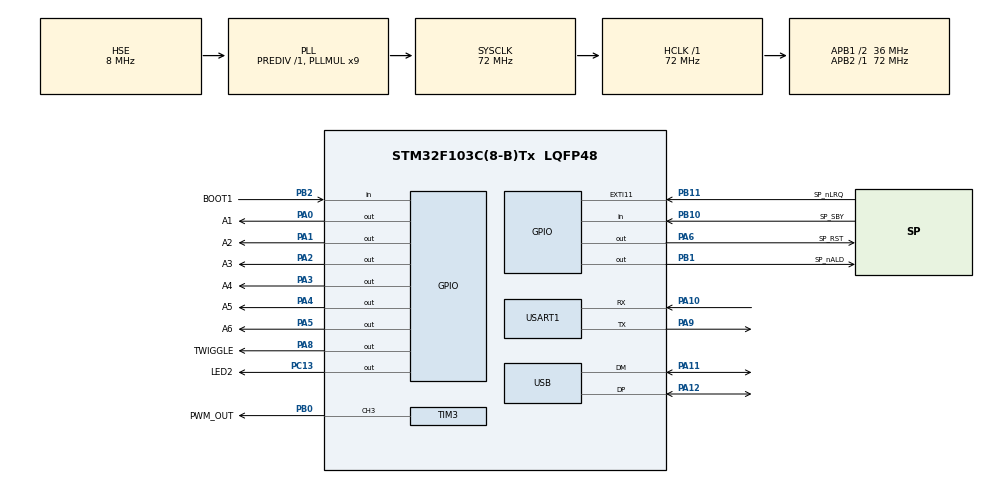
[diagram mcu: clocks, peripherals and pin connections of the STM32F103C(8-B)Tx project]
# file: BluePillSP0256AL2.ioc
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Dma.Request0=TIM4_UP
Dma.TIM4_UP.0.Direction=DMA_MEMORY_TO_PERIPH
Dma.TIM4_UP.0.Instance=DMA1_Channel7
Dma.TIM4_UP.0.MemDataAlignment=DMA_MDATAALIGN_BYTE
Dma.TIM4_UP.0.MemInc=DMA_MINC_ENABLE
Dma.TIM4_UP.0.Mode=DMA_NORMAL
Dma.TIM4_UP.0.PeriphDataAlignment=DMA_PDATAALIGN_HALFWORD
Dma.TIM4_UP.0.PeriphInc=DMA_PINC_DISABLE
Dma.TIM4_UP.0.Priority=DMA_PRIORITY_HIGH
FREERTOS.INCLUDE_uxTaskGetStackHighWaterMark=1
FREERTOS.MEMORY_ALLOCATION=2
FREERTOS.Tasks01=defaultTask,0,128,StartDefaultTask,Default,NULL,Static,defaultTaskBuffer,defaultTaskControlBlock
FREERTOS.configCHECK_FOR_STACK_OVERFLOW=2
FREERTOS.configGENERATE_RUN_TIME_STATS=0
FREERTOS.configRECORD_STACK_HIGH_ADDRESS=0
FREERTOS.configTOTAL_HEAP_SIZE=4096
FREERTOS.configUSE_MALLOC_FAILED_HOOK=1
Mcu.Family=STM32F1
Mcu.Name=STM32F103C(8-B)Tx
Mcu.Package=LQFP48
NVIC.DMA1_Channel7_IRQn=true\:5\:0\:false\:false\:true\:true\:false\:true
NVIC.EXTI15_10_IRQn=true\:5\:0\:false\:false\:true\:true\:true\:true
NVIC.PriorityGroup=NVIC_PRIORITYGROUP_4
NVIC.RTC_Alarm_IRQn=true\:5\:0\:false\:false\:true\:true\:true\:true
NVIC.TIM2_IRQn=true\:0\:0\:false\:false\:true\:false\:false\:true
NVIC.TimeBase=TIM2_IRQn
NVIC.TimeBaseIP=TIM2
NVIC.USART1_IRQn=true\:5\:0\:false\:false\:true\:true\:true\:true
NVIC.USB_LP_CAN1_RX0_IRQn=true\:5\:0\:false\:false\:true\:true\:true\:true
PA0-WKUP.GPIO_Label=A1
PA0-WKUP.Signal=GPIO_Output
PA1.GPIO_Label=A2
PA1.Signal=GPIO_Output
PA10.Mode=Asynchronous
PA10.Signal=USART1_RX
PA11.Mode=Device
PA11.Signal=USB_DM
PA12.Mode=Device
PA12.Signal=USB_DP
PA13.Mode=Serial_Wire
PA13.Signal=SYS_JTMS-SWDIO
PA14.Mode=Serial_Wire
PA14.Signal=SYS_JTCK-SWCLK
PA2.GPIO_Label=A3
PA2.Signal=GPIO_Output
PA3.GPIO_Label=A4
PA3.Signal=GPIO_Output
PA4.GPIO_Label=A5
PA4.Signal=GPIO_Output
PA5.GPIO_Label=A6
PA5.Signal=GPIO_Output
PA6.GPIO_Label=SP_RST
PA6.Signal=GPIO_Output
PA8.GPIO_Label=TWIGGLE
PA8.GPIO_Speed=GPIO_SPEED_FREQ_HIGH
PA8.Signal=GPIO_Output
PA9.Mode=Asynchronous
PA9.Signal=USART1_TX
PB0.GPIO_Label=PWM_OUT
PB0.GPIO_Speed=GPIO_SPEED_FREQ_HIGH
PB0.Signal=S_TIM3_CH3
PB1.GPIO_Label=SP_nALD
PB1.GPIO_Speed=GPIO_SPEED_FREQ_HIGH
PB1.PinState=GPIO_PIN_SET
PB1.Signal=GPIO_Output
PB10.GPIO_Label=SP_SBY
PB10.Signal=GPIO_Input
PB11.GPIO_Label=SP_nLRQ
PB11.GPIO_ModeDefaultEXTI=GPIO_MODE_IT_FALLING
PB11.Signal=GPXTI11
PB2.GPIO_Label=BOOT1
PB2.Signal=GPIO_Input
PC13-TAMPER-RTC.GPIO_Label=LED2
PC13-TAMPER-RTC.PinState=GPIO_PIN_SET
PC13-TAMPER-RTC.Signal=GPIO_Output
PC14-OSC32_IN.Mode=LSE-External-Oscillator
PC14-OSC32_IN.Signal=RCC_OSC32_IN
PC15-OSC32_OUT.Mode=LSE-External-Oscillator
PC15-OSC32_OUT.Signal=RCC_OSC32_OUT
PD0-OSC_IN.Mode=HSE-External-Oscillator
PD0-OSC_IN.Signal=RCC_OSC_IN
PD1-OSC_OUT.Mode=HSE-External-Oscillator
PD1-OSC_OUT.Signal=RCC_OSC_OUT
ProjectManager.HeapSize=0x200
ProjectManager.StackSize=0x400
ProjectManager.TargetToolchain=SW4STM32
RCC.AHBFreq_Value=72000000
RCC.APB1CLKDivider=RCC_HCLK_DIV2
RCC.APB1Freq_Value=36000000
RCC.APB1TimFreq_Value=72000000
RCC.APB2Freq_Value=72000000
RCC.APB2TimFreq_Value=72000000
RCC.HCLKFreq_Value=72000000
RCC.PLLMUL=RCC_PLL_MUL9
RCC.RTCClockSelection=RCC_RTCCLKSOURCE_LSE
RCC.SYSCLKFreq_VALUE=72000000
RCC.SYSCLKSource=RCC_SYSCLKSOURCE_PLLCLK
RCC.USBFreq_Value=48000000
RCC.USBPrescaler=RCC_USBCLKSOURCE_PLL_DIV1_5
RTC.Date=4
RTC.Format=RTC_FORMAT_BIN
RTC.Month=RTC_MONTH_MAY
RTC.WeekDay=RTC_WEEKDAY_MONDAY
RTC.Year=20
SH.S_TIM3_CH3.0=TIM3_CH3,PWM Generation3 CH3
TIM3.Channel-PWM\ Generation3\ CH3=TIM_CHANNEL_3
TIM3.Period=254
TIM3.Prescaler=5
TIM3.Pulse-PWM\ Generation3\ CH3=128
TIM4.Period=8999
TIM4.Prescaler=0
USART1.VirtualMode=VM_ASYNC
USB_DEVICE.CLASS_NAME_FS=CDC
USB_DEVICE.VirtualMode=Cdc
USB_DEVICE.VirtualModeFS=Cdc_FS
VP_FREERTOS_VS_CMSIS_V1.Mode=CMSIS_V1
VP_RTC_No_RTC_Output.Mode=RTC_OUT_NO
VP_RTC_VS_RTC_Activate.Mode=RTC_Enabled
VP_SYS_VS_tim2.Mode=TIM2
VP_TIM3_VS_ClockSourceINT.Mode=Internal
VP_TIM4_VS_ClockSourceINT.Mode=Internal
VP_USB_DEVICE_VS_USB_DEVICE_CDC_FS.Mode=CDC_FS
board=BluePill

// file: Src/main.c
/* USER CODE BEGIN Header */
/**
  ******************************************************************************
  * @file           : main.c
  * @brief          : Main program body
  ******************************************************************************
  * @attention
  *
  * <h2><center>&copy; Copyright (c) 2019 STMicroelectronics.
  * All rights reserved.</center></h2>
  *
  * This software component is licensed by ST under Ultimate Liberty license
  * SLA0044, the "License"; You may not use this file except in compliance with
  * the License. You may obtain a copy of the License at:
  *                             www.st.com/SLA0044
  *
  ******************************************************************************
  */
/* USER CODE END Header */

#include "main.h"
#include "cmsis_os.h"
#include "usb_device.h"

/* USER CODE BEGIN Includes */

#if HAVE_USBCDC
#include "usbd_cdc.h"	//just for the XXX_USBCDC_PresenceHack()
#endif
#include "system_interfaces.h"
#include "serial_devices.h"
#include "util_circbuff2.h"

#include "lamps.h"
#include "task_notification_bits.h"

#include "BluePillSP0256AL2_settings.h"

#include "task_monitor.h"
#include "task_sp0256.h"

#include "backup_registers.h"

#ifndef COUNTOF
#define COUNTOF(arr) (sizeof(arr)/sizeof(arr[0]))
#endif

#if ! HAVE_UART1 && ! HAVE_USBCDC
#error You must set at least one of HAVE_UART1 HAVE_USBCDC to 1 in project settings
#endif

//This controls whether we use the FreeRTOS heap implementation to also provide
//the libc malloc() and friends.
#define USE_FREERTOS_HEAP_IMPL 1

#ifdef DEBUG
volatile size_t g_nHeapFree;
volatile size_t g_nMinEverHeapFree;
volatile int g_nMaxMonTxQueue;
volatile int g_nMaxMonRxQueue;
volatile int g_nMaxSP0256Queue;
volatile int g_nMinStackFreeDefault;
volatile int g_nMinStackFreeMonitor;
volatile int g_nMinStackFreeSP0256;
#endif

#if USE_FREERTOS_HEAP_IMPL

#if configAPPLICATION_ALLOCATED_HEAP
//we define our heap (to be used by FreeRTOS heap_4.c implementation) to be
//exactly where we want it to be.
__attribute__((aligned(8)))
uint8_t ucHeap[ configTOTAL_HEAP_SIZE ];
#endif
//we implemented a 'realloc' for a heap_4 derived implementation
extern void* pvPortRealloc( void* pvOrig, size_t xWantedSize );
//we implemented a 'heapwalk' function
typedef int (*CBK_HEAPWALK) ( void* pblk, uint32_t nBlkSize, int bIsFree, void* pinst );
extern int vPortHeapWalk ( CBK_HEAPWALK pfnWalk, void* pinst );

//'wrapped functions' for library interpositioning
//you must specify these gcc (linker-directed) options to cause the wrappers'
//delights to be generated:

//-Wl,--wrap,malloc -Wl,--wrap,free -Wl,--wrap,realloc -Wl,--wrap,calloc
//-Wl,--wrap,_malloc_r -Wl,--wrap,_free_r -Wl,--wrap,_realloc_r -Wl,--wrap,_calloc_r

//hmm; can I declare these 'inline' and save a little code and stack?
void* __wrap_malloc ( size_t size ) { return pvPortMalloc ( size ); }
void __wrap_free ( void* pv ) { vPortFree ( pv ); }
void* __wrap_realloc ( void* pv, size_t size ) { return pvPortRealloc ( pv, size ); }

void* __wrap__malloc_r ( struct _reent* r, size_t size ) { return pvPortMalloc ( size ); }
void __wrap__free_r ( struct _reent* r, void* pv ) { vPortFree ( pv ); }
void* __wrap__realloc_r ( struct _reent* r, void* pv, size_t size ) { return pvPortRealloc ( pv, size ); }

#endif

/* USER CODE END Includes */

RTC_HandleTypeDef hrtc;

TIM_HandleTypeDef htim3;
TIM_HandleTypeDef htim4;
DMA_HandleTypeDef hdma_tim4_up;

UART_HandleTypeDef huart1;

osThreadId defaultTaskHandle;
uint32_t defaultTaskBuffer[ 128 ];
osStaticThreadDef_t defaultTaskControlBlock;

void SystemClock_Config(void);
static void MX_GPIO_Init(void);
static void MX_DMA_Init(void);
static void MX_RTC_Init(void);
static void MX_TIM3_Init(void);
static void MX_TIM4_Init(void);
static void MX_USART1_UART_Init(void);
void StartDefaultTask(void const * argument);

int main(void)
{
  /* USER CODE BEGIN 1 */
	//enable the core debug cycle counter to be used as a precision timer
	CoreDebug->DEMCR |= CoreDebug_DEMCR_TRCENA_Msk;
	DWT->CYCCNT = 0;
	DWT->CTRL |= DWT_CTRL_CYCCNTENA_Msk;
  /* USER CODE END 1 */

  /* MCU Configuration--------------------------------------------------------*/

  /* Reset of all peripherals, Initializes the Flash interface and the Systick. */
  HAL_Init();

  /* USER CODE BEGIN Init */

#if HAVE_USBCDC
	//if you get a linker fail on the following, it is because some manual
	//changes to:
	//  .\Middlewares\ST\STM32_USB_Device_Library\Class\CDC\Inc\usbd_cdc.h
	//  .\Middlewares\ST\STM32_USB_Device_Library\Class\CDC\Src\usbd_cdc.c
	//  .\Src\usbd_cdc_if.c
	//must be applied.  There are backups of those files to help with that.
	//This has to be done manually, because the changes are in tool generated
	//code that gets overwritten when you re-run STM32CubeMX.  The nature of
	//those changes are such that when they are overwritten, you will still
	//be able to build but stuff won't work at runtime.  This hack will cause
	//the build to fail if you forget to merge those changes back on, thus
	//prompting you to do so.
	//Sorry for the inconvenience, but I don't think there is any better way
	//of making it obvious that this chore simply must be done.
	XXX_USBCDC_PresenceHack();	//this does nothing real; do not delete
#endif

  /* USER CODE END Init */

  /* Configure the system clock */
  SystemClock_Config();

  /* USER CODE BEGIN SysInit */

	//do a dummy alloc to cause the heap to be init'ed and so the memory stats as well
	vPortFree ( pvPortMalloc ( 0 ) );

	//get system config depersisted from flash before we do much more
	Settings_depersist();

  /* USER CODE END SysInit */

  /* Initialize all configured peripherals */
  MX_GPIO_Init();
  MX_DMA_Init();
  MX_RTC_Init();
  MX_TIM3_Init();
  MX_TIM4_Init();
  MX_USART1_UART_Init();
  /* USER CODE BEGIN 2 */

	//give the task processors an early opportunity to setup any internal
	//stuff (e.g. FreeRTOS objects, etc.).  In general, we should do this
	//after the peripherals have been configured.
	SP0256_Initialize();	//setup whatnot for the SP0256 task processor and reset
	Monitor_Initialize();	//setup whatnot for the Monitor task

  /* USER CODE END 2 */

  /* Create the thread(s) */
  /* definition and creation of defaultTask */
  osThreadStaticDef(defaultTask, StartDefaultTask, osPriorityNormal, 0, 128, defaultTaskBuffer, &defaultTaskControlBlock);
  defaultTaskHandle = osThreadCreate(osThread(defaultTask), NULL);

  /* Start scheduler */
  osKernelStart();

  /* We should never get here as control is now taken by the scheduler */

  /* Infinite loop */
  while (1)
  {

  }
}

void SystemClock_Config(void)
{
  RCC_OscInitTypeDef RCC_OscInitStruct = {0};
  RCC_ClkInitTypeDef RCC_ClkInitStruct = {0};
  RCC_PeriphCLKInitTypeDef PeriphClkInit = {0};

  /** Initializes the CPU, AHB and APB busses clocks
  */
  RCC_OscInitStruct.OscillatorType = RCC_OSCILLATORTYPE_HSE|RCC_OSCILLATORTYPE_LSE;
  RCC_OscInitStruct.HSEState = RCC_HSE_ON;
  RCC_OscInitStruct.HSEPredivValue = RCC_HSE_PREDIV_DIV1;
  RCC_OscInitStruct.LSEState = RCC_LSE_ON;
  RCC_OscInitStruct.HSIState = RCC_HSI_ON;
  RCC_OscInitStruct.PLL.PLLState = RCC_PLL_ON;
  RCC_OscInitStruct.PLL.PLLSource = RCC_PLLSOURCE_HSE;
  RCC_OscInitStruct.PLL.PLLMUL = RCC_PLL_MUL9;
  if (HAL_RCC_OscConfig(&RCC_OscInitStruct) != HAL_OK)
  {
    Error_Handler();
  }
  /** Initializes the CPU, AHB and APB busses clocks
  */
  RCC_ClkInitStruct.ClockType = RCC_CLOCKTYPE_HCLK|RCC_CLOCKTYPE_SYSCLK
                              |RCC_CLOCKTYPE_PCLK1|RCC_CLOCKTYPE_PCLK2;
  RCC_ClkInitStruct.SYSCLKSource = RCC_SYSCLKSOURCE_PLLCLK;
  RCC_ClkInitStruct.AHBCLKDivider = RCC_SYSCLK_DIV1;
  RCC_ClkInitStruct.APB1CLKDivider = RCC_HCLK_DIV2;
  RCC_ClkInitStruct.APB2CLKDivider = RCC_HCLK_DIV1;

  if (HAL_RCC_ClockConfig(&RCC_ClkInitStruct, FLASH_LATENCY_2) != HAL_OK)
  {
    Error_Handler();
  }
  PeriphClkInit.PeriphClockSelection = RCC_PERIPHCLK_RTC|RCC_PERIPHCLK_USB;
  PeriphClkInit.RTCClockSelection = RCC_RTCCLKSOURCE_LSE;
  PeriphClkInit.UsbClockSelection = RCC_USBCLKSOURCE_PLL_DIV1_5;
  if (HAL_RCCEx_PeriphCLKConfig(&PeriphClkInit) != HAL_OK)
  {
    Error_Handler();
  }
}

static void MX_RTC_Init(void)
{

  RTC_TimeTypeDef sTime = {0};
  RTC_DateTypeDef DateToUpdate = {0};

  /** Initialize RTC Only
  */
  hrtc.Instance = RTC;
  hrtc.Init.AsynchPrediv = RTC_AUTO_1_SECOND;
  hrtc.Init.OutPut = RTC_OUTPUTSOURCE_NONE;
  if (HAL_RTC_Init(&hrtc) != HAL_OK)
  {
    Error_Handler();
  }

  /* USER CODE BEGIN Check_RTC_BKUP */
	//we use one of the 'backup registers' to store some flags; the 'RTC set'
	//is used to indicate we have set the clock at some point.  If this flag is
	//set in the backup register, then we have /not power-cycled the board, and
	//so we avoid the generated code, below which will blast the RTC setting.
	HAL_PWR_EnableBkUpAccess();	//... and leave it that way
	uint32_t flags = HAL_RTCEx_BKUPRead ( &hrtc, FLAGS_REGISTER );
	if ( ! ( flags & FLAG_HAS_SET_RTC ) )
	{	//ugly hack to skip needlessly setting the RTC via generated code
  /* USER CODE END Check_RTC_BKUP */

  /** Initialize RTC and set the Time and Date
  */
  sTime.Hours = 0;
  sTime.Minutes = 0;
  sTime.Seconds = 0;

  if (HAL_RTC_SetTime(&hrtc, &sTime, RTC_FORMAT_BIN) != HAL_OK)
  {
    Error_Handler();
  }
  DateToUpdate.WeekDay = RTC_WEEKDAY_MONDAY;
  DateToUpdate.Month = RTC_MONTH_MAY;
  DateToUpdate.Date = 4;
  DateToUpdate.Year = 20;

  if (HAL_RTC_SetDate(&hrtc, &DateToUpdate, RTC_FORMAT_BIN) != HAL_OK)
  {
    Error_Handler();
  }
  /* USER CODE BEGIN RTC_Init 2 */
	}
else
	{
		//If we have reset or woken up but aren't going to set the RTC because
		//it was already set, then we at least need to do the following or we
		//won't ever be able to write to the RTC (e.g. for setting alarm)
		//NOTE:  on the 'F1's, the RTC is 'V1', which means that there is not
		//date.  The date is emulated in software, and so is lost on reset,
		//etc.
		HAL_RTC_WaitForSynchro(&hrtc);
	}	//end ugly hack to avoid some generated code

  /* USER CODE END RTC_Init 2 */

}

static void MX_TIM3_Init(void)
{

  TIM_ClockConfigTypeDef sClockSourceConfig = {0};
  TIM_MasterConfigTypeDef sMasterConfig = {0};
  TIM_OC_InitTypeDef sConfigOC = {0};

  htim3.Instance = TIM3;
  htim3.Init.Prescaler = 5;
  htim3.Init.CounterMode = TIM_COUNTERMODE_UP;
  htim3.Init.Period = 254;
  htim3.Init.ClockDivision = TIM_CLOCKDIVISION_DIV1;
  htim3.Init.AutoReloadPreload = TIM_AUTORELOAD_PRELOAD_DISABLE;
  if (HAL_TIM_Base_Init(&htim3) != HAL_OK)
  {
    Error_Handler();
  }
  sClockSourceConfig.ClockSource = TIM_CLOCKSOURCE_INTERNAL;
  if (HAL_TIM_ConfigClockSource(&htim3, &sClockSourceConfig) != HAL_OK)
  {
    Error_Handler();
  }
  if (HAL_TIM_PWM_Init(&htim3) != HAL_OK)
  {
    Error_Handler();
  }
  sMasterConfig.MasterOutputTrigger = TIM_TRGO_RESET;
  sMasterConfig.MasterSlaveMode = TIM_MASTERSLAVEMODE_DISABLE;
  if (HAL_TIMEx_MasterConfigSynchronization(&htim3, &sMasterConfig) != HAL_OK)
  {
    Error_Handler();
  }
  sConfigOC.OCMode = TIM_OCMODE_PWM1;
  sConfigOC.Pulse = 128;
  sConfigOC.OCPolarity = TIM_OCPOLARITY_HIGH;
  sConfigOC.OCFastMode = TIM_OCFAST_DISABLE;
  if (HAL_TIM_PWM_ConfigChannel(&htim3, &sConfigOC, TIM_CHANNEL_3) != HAL_OK)
  {
    Error_Handler();
  }
  HAL_TIM_MspPostInit(&htim3);

}

static void MX_TIM4_Init(void)
{

  TIM_ClockConfigTypeDef sClockSourceConfig = {0};
  TIM_MasterConfigTypeDef sMasterConfig = {0};

  htim4.Instance = TIM4;
  htim4.Init.Prescaler = 0;
  htim4.Init.CounterMode = TIM_COUNTERMODE_UP;
  htim4.Init.Period = 8999;
  htim4.Init.ClockDivision = TIM_CLOCKDIVISION_DIV1;
  htim4.Init.AutoReloadPreload = TIM_AUTORELOAD_PRELOAD_DISABLE;
  if (HAL_TIM_Base_Init(&htim4) != HAL_OK)
  {
    Error_Handler();
  }
  sClockSourceConfig.ClockSource = TIM_CLOCKSOURCE_INTERNAL;
  if (HAL_TIM_ConfigClockSource(&htim4, &sClockSourceConfig) != HAL_OK)
  {
    Error_Handler();
  }
  sMasterConfig.MasterOutputTrigger = TIM_TRGO_RESET;
  sMasterConfig.MasterSlaveMode = TIM_MASTERSLAVEMODE_DISABLE;
  if (HAL_TIMEx_MasterConfigSynchronization(&htim4, &sMasterConfig) != HAL_OK)
  {
    Error_Handler();
  }

}

static void MX_USART1_UART_Init(void)
{

  huart1.Instance = USART1;
  huart1.Init.BaudRate = 115200;
  huart1.Init.WordLength = UART_WORDLENGTH_8B;
  huart1.Init.StopBits = UART_STOPBITS_1;
  huart1.Init.Parity = UART_PARITY_NONE;
  huart1.Init.Mode = UART_MODE_TX_RX;
  huart1.Init.HwFlowCtl = UART_HWCONTROL_NONE;
  huart1.Init.OverSampling = UART_OVERSAMPLING_16;
  if (HAL_UART_Init(&huart1) != HAL_OK)
  {
    Error_Handler();
  }

}

static void MX_DMA_Init(void)
{

  /* DMA controller clock enable */
  __HAL_RCC_DMA1_CLK_ENABLE();

  /* DMA interrupt init */
  /* DMA1_Channel7_IRQn interrupt configuration */
  HAL_NVIC_SetPriority(DMA1_Channel7_IRQn, 5, 0);
  HAL_NVIC_EnableIRQ(DMA1_Channel7_IRQn);

}

static void MX_GPIO_Init(void)
{
  GPIO_InitTypeDef GPIO_InitStruct = {0};

  /* GPIO Ports Clock Enable */
  __HAL_RCC_GPIOC_CLK_ENABLE();
  __HAL_RCC_GPIOD_CLK_ENABLE();
  __HAL_RCC_GPIOA_CLK_ENABLE();
  __HAL_RCC_GPIOB_CLK_ENABLE();

  /*Configure GPIO pin Output Level */
  HAL_GPIO_WritePin(LED2_GPIO_Port, LED2_Pin, GPIO_PIN_SET);

  /*Configure GPIO pin Output Level */
  HAL_GPIO_WritePin(GPIOA, A1_Pin|A2_Pin|A3_Pin|A4_Pin
                          |A5_Pin|A6_Pin|SP_RST_Pin|TWIGGLE_Pin, GPIO_PIN_RESET);

  /*Configure GPIO pin Output Level */
  HAL_GPIO_WritePin(SP_nALD_GPIO_Port, SP_nALD_Pin, GPIO_PIN_SET);

  /*Configure GPIO pin : LED2_Pin */
  GPIO_InitStruct.Pin = LED2_Pin;
  GPIO_InitStruct.Mode = GPIO_MODE_OUTPUT_PP;
  GPIO_InitStruct.Pull = GPIO_NOPULL;
  GPIO_InitStruct.Speed = GPIO_SPEED_FREQ_LOW;
  HAL_GPIO_Init(LED2_GPIO_Port, &GPIO_InitStruct);

  /*Configure GPIO pins : A1_Pin A2_Pin A3_Pin A4_Pin
                           A5_Pin A6_Pin SP_RST_Pin */
  GPIO_InitStruct.Pin = A1_Pin|A2_Pin|A3_Pin|A4_Pin
                          |A5_Pin|A6_Pin|SP_RST_Pin;
  GPIO_InitStruct.Mode = GPIO_MODE_OUTPUT_PP;
  GPIO_InitStruct.Pull = GPIO_NOPULL;
  GPIO_InitStruct.Speed = GPIO_SPEED_FREQ_LOW;
  HAL_GPIO_Init(GPIOA, &GPIO_InitStruct);

  /*Configure GPIO pins : PA7 PA15 */
  GPIO_InitStruct.Pin = GPIO_PIN_7|GPIO_PIN_15;
  GPIO_InitStruct.Mode = GPIO_MODE_ANALOG;
  HAL_GPIO_Init(GPIOA, &GPIO_InitStruct);

  /*Configure GPIO pin : SP_nALD_Pin */
  GPIO_InitStruct.Pin = SP_nALD_Pin;
  GPIO_InitStruct.Mode = GPIO_MODE_OUTPUT_PP;
  GPIO_InitStruct.Pull = GPIO_NOPULL;
  GPIO_InitStruct.Speed = GPIO_SPEED_FREQ_HIGH;
  HAL_GPIO_Init(SP_nALD_GPIO_Port, &GPIO_InitStruct);

  /*Configure GPIO pins : BOOT1_Pin SP_SBY_Pin */
  GPIO_InitStruct.Pin = BOOT1_Pin|SP_SBY_Pin;
  GPIO_InitStruct.Mode = GPIO_MODE_INPUT;
  GPIO_InitStruct.Pull = GPIO_NOPULL;
  HAL_GPIO_Init(GPIOB, &GPIO_InitStruct);

  /*Configure GPIO pin : SP_nLRQ_Pin */
  GPIO_InitStruct.Pin = SP_nLRQ_Pin;
  GPIO_InitStruct.Mode = GPIO_MODE_IT_FALLING;
  GPIO_InitStruct.Pull = GPIO_NOPULL;
  HAL_GPIO_Init(SP_nLRQ_GPIO_Port, &GPIO_InitStruct);

  /*Configure GPIO pins : PB12 PB13 PB14 PB15
                           PB3 PB4 PB5 PB6
                           PB7 PB8 PB9 */
  GPIO_InitStruct.Pin = GPIO_PIN_12|GPIO_PIN_13|GPIO_PIN_14|GPIO_PIN_15
                          |GPIO_PIN_3|GPIO_PIN_4|GPIO_PIN_5|GPIO_PIN_6
                          |GPIO_PIN_7|GPIO_PIN_8|GPIO_PIN_9;
  GPIO_InitStruct.Mode = GPIO_MODE_ANALOG;
  HAL_GPIO_Init(GPIOB, &GPIO_InitStruct);

  /*Configure GPIO pin : TWIGGLE_Pin */
  GPIO_InitStruct.Pin = TWIGGLE_Pin;
  GPIO_InitStruct.Mode = GPIO_MODE_OUTPUT_PP;
  GPIO_InitStruct.Pull = GPIO_NOPULL;
  GPIO_InitStruct.Speed = GPIO_SPEED_FREQ_HIGH;
  HAL_GPIO_Init(TWIGGLE_GPIO_Port, &GPIO_InitStruct);

  /* EXTI interrupt init*/
  HAL_NVIC_SetPriority(EXTI15_10_IRQn, 5, 0);
  HAL_NVIC_EnableIRQ(EXTI15_10_IRQn);

}

/* USER CODE BEGIN 4 */

//====================================================

//this is made a function simply for tidiness, and locals lifetime
void __startWorkerTasks ( void )
{
	//kick off the SP0256 thread, which handles sending phoneme data
	{
	//high priority because it keeps the synth pipeline full, especially when simulating
	osThreadStaticDef(taskSP0256, thrdfxnSP0256Task, osPriorityHigh, 0, COUNTOF(g_tbSP0256), g_tbSP0256, &g_tcbSP0256);
	g_thSP0256 = osThreadCreate(osThread(taskSP0256), NULL);
	}
	//kick off the monitor thread, which handles the user interactions
	{
	osThreadStaticDef(taskMonitor, thrdfxnMonitorTask, osPriorityNormal, 0, COUNTOF(g_tbMonitor), g_tbMonitor, &g_tcbMonitor);
	g_thMonitor = osThreadCreate(osThread(taskMonitor), NULL);
	}
}

//====================================================
//miscellaneous hooks of our creation

//XXX sync this with interface binding, below
#if HAVE_UART1
#elif HAVE_USBCDC

//well-discplined serial clients will assert DTR, and we
//can use that as an indication that a client application
//opened the port.
//NOTE:  These lines are often also set to an initial state
//by the host's driver, so do not consider these to be
//exclusively an indication of a client connecting.  Hosts
//usually will deassert these signals when this device
//enumerates.  Lastly, there is no guarantee that a client
//will assert DTR, so it's not 100% guarantee, just a pretty
//good indicator.
//NOTE:  we are in an ISR at this time
void USBCDC_DTR ( int bAssert )
{
	Monitor_ClientConnect ( bAssert );
}

//(unneeded)
//void USBCDC_RTS ( int bAssert ) { }
#endif

//XXX sync this with interface binding, below
#if HAVE_UART1
void UART1_DataAvailable ( void )
#elif HAVE_USBCDC
void USBCDC_DataAvailable ( void )
#endif
{
	//this notification is required because our Monitor is implemented with the
	//non-blocking command interface, so we need to know when to wake and bake.
	Monitor_DAV();
}

//XXX sync this with interface binding, below
#if HAVE_UART1
void UART1_TransmitEmpty ( void )
#elif HAVE_USBCDC
void USBCDC_TransmitEmpty ( void )
#endif
{
	//we don't really need this, but here's how you do it
	Monitor_TBMT();
}

//====================================================
//FreeRTOS hooks

void vApplicationStackOverflowHook(xTaskHandle xTask, signed char *pcTaskName)
{
	/* Run time stack overflow checking is performed if
	configCHECK_FOR_STACK_OVERFLOW is defined to 1 or 2. This hook function is
	called if a stack overflow is detected. */
	volatile int i = 0;
	(void)i;
}

void vApplicationMallocFailedHook(void)
{
	/* vApplicationMallocFailedHook() will only be called if
	configUSE_MALLOC_FAILED_HOOK is set to 1 in FreeRTOSConfig.h. It is a hook
	function that will get called if a call to pvPortMalloc() fails.
	pvPortMalloc() is called internally by the kernel whenever a task, queue,
	timer or semaphore is created. It is also called by various parts of the
	demo application. If heap_1.c or heap_2.c are used, then the size of the
	heap available to pvPortMalloc() is defined by configTOTAL_HEAP_SIZE in
	FreeRTOSConfig.h, and the xPortGetFreeHeapSize() API function can be used
	to query the size of free heap space that remains (although it does not
	provide information on how the remaining heap might be fragmented). */
	volatile int i = 0;
	(void)i;
}

//====================================================
//EXTI support

void HAL_GPIO_EXTI_Callback(uint16_t GPIO_Pin)
{
	switch ( GPIO_Pin )
	{
		case SP_nLRQ_Pin:	//nLRQ falling edge
			SP0256_GPIO_EXTI_Callback ( GPIO_Pin );
		break;

		default:
			//XXX que?
		break;
	}
}

void HAL_RTC_AlarmAEventCallback(RTC_HandleTypeDef *hrtc)
{
}

//====================================================
//DMA support
//	The DMA1 channel 7 is attached to the TIM4 'update' (i.e. rollover) action,
//and we use that to clock out our samples.  The DMA will directly fetch byte
//samples from memory and push them into the TIM3 CCR3 register to achieve PWM
//clocked at the TIM4 rate.

void HAL_DMA_CB_XferCpl(DMA_HandleTypeDef* hdma)
{
	SP0256_DMA_1_7_CPL_Callback();	//we need to be fed
}

void HAL_DMA_CB_HalfCpl(DMA_HandleTypeDef* hdma)
{
	SP0256_DMA_1_7_HALFCPL_Callback();	//we need to prepare a buffer
}

void HAL_DMA_CB_Error(DMA_HandleTypeDef* hdma)
{
	//(we're not using this)
}

void HAL_DMA_CB_Abort(DMA_HandleTypeDef* hdma)
{
	//(we're not using this)
}

/* USER CODE END 4 */

void StartDefaultTask(void const * argument)
{

  /* init code for USB_DEVICE */
  MX_USB_DEVICE_Init();

  /* USER CODE BEGIN 5 */

	//crank up serial ports
#if HAVE_UART1
	UART1_Init();	//UART1, alternative monitor
#endif
#if HAVE_USBCDC
	USBCDC_Init();	//CDC == monitor
#endif

	//bind the interfaces to the relevant devices
	//these 'HAVE_xxx' macros are in the preprocessor defs of the project
	//XXX the following logic must be kept in sync with logic up above
#if HAVE_UART1
	//we'll prefer the physical UART if we've defined support for both
	g_pMonitorIOIf = &g_pifUART1;	//monitor is on UART1
#elif HAVE_USBCDC
	g_pMonitorIOIf = &g_pifCDC;		//monitor is on USB CDC
#endif

	//this must be done to get the PWM output started
	HAL_TIM_Base_Start(&htim3); //Starts the TIM Base generation
	if (HAL_TIM_PWM_Start(&htim3, TIM_CHANNEL_3) != HAL_OK)//Starts the PWM signal generation
	{
		Error_Handler();	//horror
	}

	//this period will be like using a color burst xtal instead of the 3.12 MHz
	//htim4.Instance->ARR = 5692;	//for the 11025 sampling rate
	//htim4.Instance->ARR = 7844;	//for the 8000 sampling rate
	//this period will be like using a 4.0 MHZ xtal instead of the 3.12 MHz
	//htim4.Instance->ARR = 5053;	//for the 11025 sampling rate
	//htim4.Instance->ARR = 7020;	//for the 8000 sampling rate

	//this must be done to get the sample clock started
	HAL_TIM_Base_Start(&htim4);			//for DMA driven I/O (don't need the interrupt)

	//register DMA callbacks
	HAL_DMA_RegisterCallback(&hdma_tim4_up, HAL_DMA_XFER_CPLT_CB_ID, HAL_DMA_CB_XferCpl);
	HAL_DMA_RegisterCallback(&hdma_tim4_up, HAL_DMA_XFER_HALFCPLT_CB_ID, HAL_DMA_CB_HalfCpl);
	HAL_DMA_RegisterCallback(&hdma_tim4_up, HAL_DMA_XFER_ERROR_CB_ID, HAL_DMA_CB_Error);
	HAL_DMA_RegisterCallback(&hdma_tim4_up, HAL_DMA_XFER_ABORT_CB_ID, HAL_DMA_CB_Abort);

	__HAL_TIM_ENABLE_DMA ( &htim4, TIM_DMA_UPDATE );	//'updates' (rollover) cause DMA

	//light some lamps on a countdown
	LightLamp ( 1000, &g_lltGn, _ledOnGn );

	//start up worker threads
	__startWorkerTasks();

	//================================================
	//temporary test crap
	{
	volatile size_t nPushed;

#if HAVE_UART1 && defined(DEBUG)
	//the uart1 monitor is for my debugging convenience, but it doesn't have a
	//'client connected' event, so squirt out a string to make it obvious we
	//are live
	g_pifUART1._transmitCompletely ( &g_pifUART1, "Hi, there!\r\n> ", -1, 1000 );
#endif

	(void) nPushed;
	nPushed = 0;	//(just for breakpoint)
	}

	//================================================
	//continue running this task
	//This task, the 'default' task, was generated by the tool, and it's easier
	//to just keep it than to fight the tool to destroy it (though some of that
	//fighting can be made a little easier if it was dynamically allocated,
	//then just exited).  We repurpose it after init to handle the lamps and
	//periodically sample performance data (useful for tuning pre-release).

	//Infinite loop
	uint32_t msWait = 1000;
	for(;;)
	{
		//wait on various task notifications
		uint32_t ulNotificationValue;
		BaseType_t xResult = xTaskNotifyWait( pdFALSE,	//Don't clear bits on entry.
				0xffffffff,	//Clear all bits on exit.
				&ulNotificationValue,	//Stores the notified value.
				pdMS_TO_TICKS(msWait) );
		if( xResult == pdPASS )
		{
			//the lights have changed
			if ( ulNotificationValue & TNB_LIGHTSCHANGED )
			{
				//XXX
			}
		}
		else	//timeout on wait
		{
			//XXX things to do on periodic idle timeout
		}

#ifdef DEBUG
		//XXX these are to tune the freertos heap size; if we have a heap
#if USE_FREERTOS_HEAP_IMPL
		g_nHeapFree = xPortGetFreeHeapSize();
		g_nMinEverHeapFree = xPortGetMinimumEverFreeHeapSize();
#else
		g_nMinEverHeapFree = (char*)platform_get_last_free_ram( 0 ) - (char*)platform_get_first_free_ram( 0 );
#endif
#if HAVE_UART1
		g_nMaxMonTxQueue = UART1_txbuff_max();
		g_nMaxMonRxQueue = UART1_rxbuff_max();
#elif HAVE_USBCDC
		g_nMaxMonTxQueue = CDC_txbuff_max();
		g_nMaxMonRxQueue = CDC_rxbuff_max();
#endif
		g_nMaxSP0256Queue = SP0256_queue_max();
		//free stack space measurements
		g_nMinStackFreeDefault = uxTaskGetStackHighWaterMark ( defaultTaskHandle );
		g_nMinStackFreeMonitor = uxTaskGetStackHighWaterMark ( g_thMonitor );
		g_nMinStackFreeSP0256 = uxTaskGetStackHighWaterMark ( g_thSP0256 );
		//XXX others
#endif

		//turn out the lights, the party's over
		uint32_t now = HAL_GetTick();
		uint32_t remMin = 0xffffffff;	//nothing yet
		ProcessLightOffTime ( now, &remMin, &g_lltGn, _ledOffGn );

		//don't wait longer than 3 sec
		if ( remMin > 3000 )
			remMin = 3000;

		msWait = remMin;
	}

  /* USER CODE END 5 */
}

void HAL_TIM_PeriodElapsedCallback(TIM_HandleTypeDef *htim)
{
  if (htim->Instance == TIM2) {
    HAL_IncTick();
  }
  /* USER CODE BEGIN Callback 1 */
/*we're not doing ISR sample clock anymore, but I'm leaving this here for posterity
	else if (htim->Instance == TIM4)
	{
		//notify of sample clock
		SP0256_TIM4_Callback();
	}
*/
  /* USER CODE END Callback 1 */
}

void Error_Handler(void)
{
  /* USER CODE BEGIN Error_Handler_Debug */
  /* User can add his own implementation to report the HAL error return state */
	volatile int i = 0;
	(void)i;
  /* USER CODE END Error_Handler_Debug */
}

#ifdef  USE_FULL_ASSERT
/**
  * @brief  Reports the name of the source file and the source line number
  *         where the assert_param error has occurred.
  * @param  file: pointer to the source file name
  * @param  line: assert_param error line source number
  * @retval None
  */
void assert_failed(uint8_t *file, uint32_t line)
{
  /* USER CODE BEGIN 6 */
  /* User can add his own implementation to report the file name and line number,
     tex: printf("Wrong parameters value: file %s on line %d\r\n", file, line) */
	volatile int i = 0;
	(void)i;
  /* USER CODE END 6 */
}
#endif /* USE_FULL_ASSERT */

/************************ (C) COPYRIGHT STMicroelectronics *****END OF FILE****/
